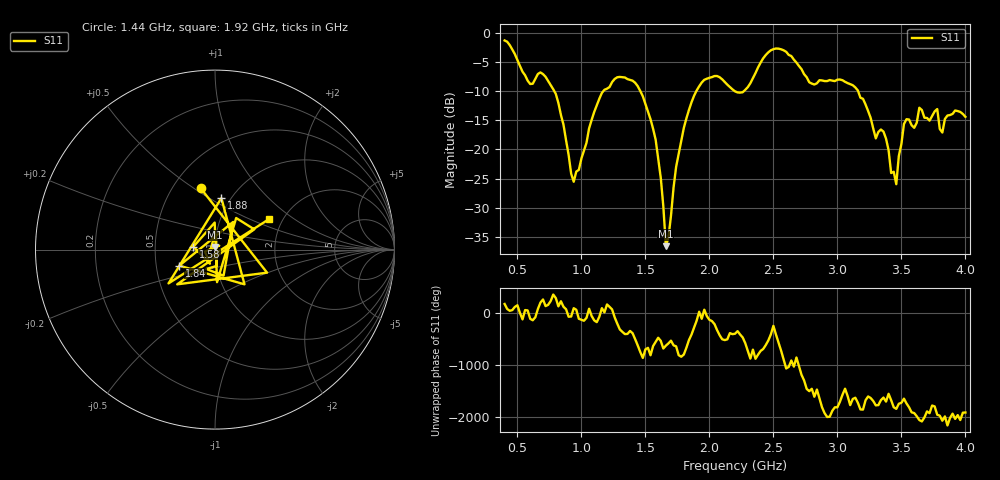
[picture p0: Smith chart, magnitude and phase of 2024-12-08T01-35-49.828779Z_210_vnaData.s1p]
!Created with skrf (http://scikit-rf.org).
# Hz S RI R 50.0
!freq ReS11 ImS11
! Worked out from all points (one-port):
!   181 points, 400 MHz to 4 GHz, reference 50 ohm
!   lowest |S11| = -36.6 dB at 1.66 GHz (marker M1), VSWR 1.03, Z = 49.8 + j1.45 ohm
!   |S11| at or under -10 dB: 788.4 MHz to 1.171 GHz (382.3 MHz wide, 39 % of centre); 1.461 GHz to 1.898 GHz (436.8 MHz wide, 26 % of centre); 3.162 GHz to end of sweep (the widest 3 of 4)
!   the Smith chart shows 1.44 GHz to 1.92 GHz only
!   S11 on the Smith chart (normalised r, x): 1.44 GHz: 0.69, +0.53; 1.58 GHz: 0.78, +0.03; 1.84 GHz: 0.66, -0.12; 1.88 GHz: 0.91, +0.57; 1.92 GHz: 1.71, +0.67
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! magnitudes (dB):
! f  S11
! 400 MHz  -1.3
! 600 MHz  -8.8
! 720 MHz  -7.5
! 860 MHz  -15.7
! 940 MHz  -25.6
! 1.16 GHz  -10.3
! 1.3 GHz  -7.5
! 1.44 GHz  -9.1
! 1.58 GHz  -18.3
! 1.62 GHz  -24.9
! 1.66 GHz  -36.6
! 1.76 GHz  -20.8
! 1.84 GHz  -13.2
! 1.88 GHz  -10.8
! 1.92 GHz  -9.2
! 2.2 GHz  -10.0
! 2.48 GHz  -3.0
! 2.66 GHz  -4.6
! 2.8 GHz  -8.7
! 3.1 GHz  -8.8
! 3.3 GHz  -18.1
! 3.36 GHz  -16.9
! 3.46 GHz  -26.0
! 3.52 GHz  -15.6
! 3.56 GHz  -14.9
! 3.78 GHz  -13.1
! 3.82 GHz  -17.1
! 4 GHz  -14.4
